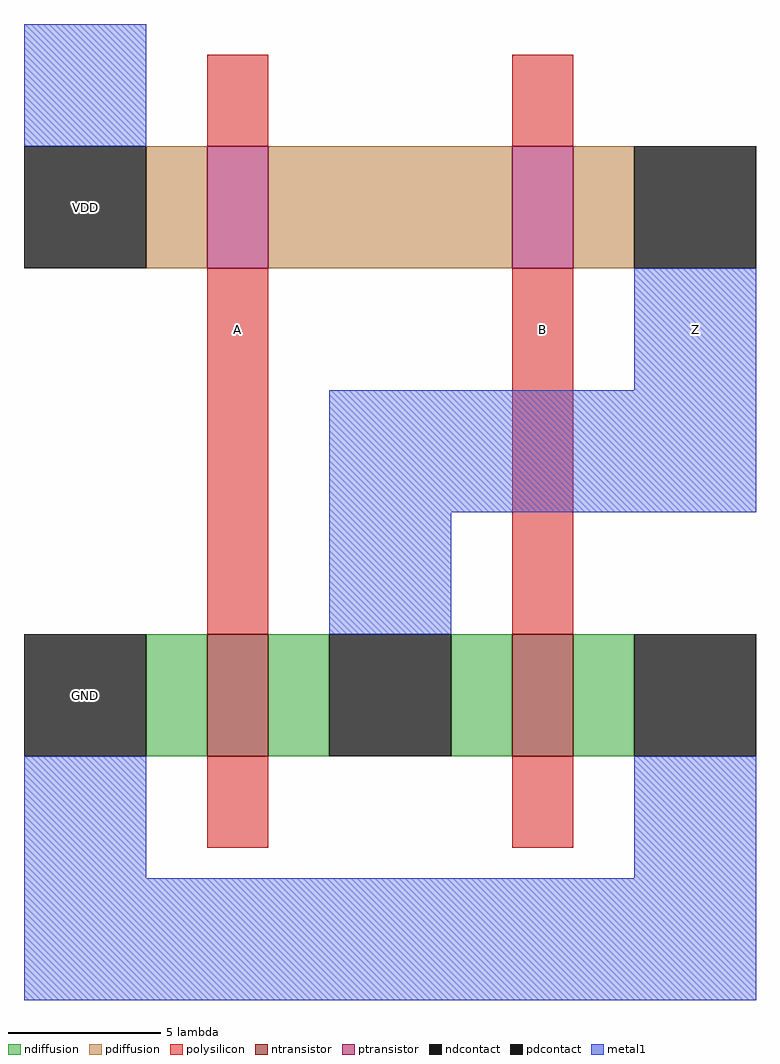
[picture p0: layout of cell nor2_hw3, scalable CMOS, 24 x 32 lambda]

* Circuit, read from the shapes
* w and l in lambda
.subckt nor2_hw3 A B GND VDD Z
M1 Z A GND VSUBS nfet w=4 l=2
M2 GND B Z VSUBS nfet w=4 l=2
M3 n1 A VDD NWELL pfet w=4 l=2
M4 Z B n1 NWELL pfet w=4 l=2
.ends

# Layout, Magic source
magic
tech scmos
<< ntransistor >>
rect 6 0 8 4
rect 16 0 18 4
<< ptransistor >>
rect 6 16 8 20
rect 16 16 18 20
<< ndiffusion >>
rect 4 0 6 4
rect 8 0 10 4
rect 14 0 16 4
rect 18 0 20 4
<< pdiffusion >>
rect 4 16 6 20
rect 8 16 16 20
rect 18 16 20 20
<< ndcontact >>
rect 0 0 4 4
rect 10 0 14 4
rect 20 0 24 4
<< pdcontact >>
rect 0 16 4 20
rect 20 16 24 20
<< polysilicon >>
rect 6 20 8 23
rect 16 20 18 23
rect 6 4 8 16
rect 16 4 18 16
rect 6 -3 8 0
rect 16 -3 18 0
<< metal1 >>
rect 0 20 4 24
rect 20 12 24 16
rect 10 8 24 12
rect 10 4 14 8
rect 0 -4 4 0
rect 20 -4 24 0
rect 0 -8 24 -4
<< labels >>
rlabel pdcontact 2 18 2 18 1 VDD
rlabel ndcontact 2 2 2 2 1 GND
rlabel polysilicon 7 14 7 14 1 A
rlabel polysilicon 17 14 17 14 1 B
rlabel metal1 22 14 22 14 1 Z
<< end >>
